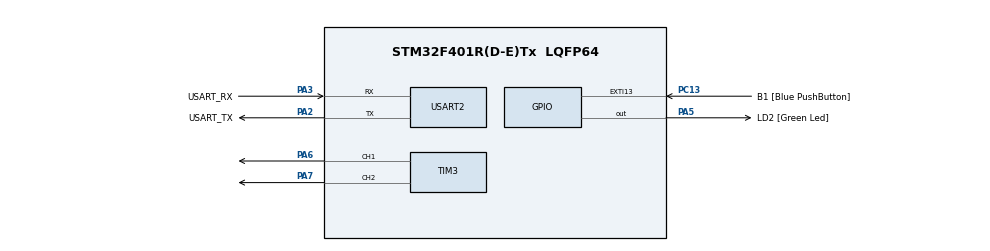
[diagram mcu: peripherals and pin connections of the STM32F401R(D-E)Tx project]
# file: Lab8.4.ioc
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Mcu.Family=STM32F4
Mcu.Name=STM32F401R(D-E)Tx
Mcu.Package=LQFP64
NVIC.PriorityGroup=NVIC_PRIORITYGROUP_4
PA13.GPIO_Label=TMS
PA13.Mode=Trace_Asynchronous_SW
PA13.Signal=SYS_JTMS-SWDIO
PA14.GPIO_Label=TCK
PA14.Mode=Trace_Asynchronous_SW
PA14.Signal=SYS_JTCK-SWCLK
PA2.GPIO_Label=USART_TX
PA2.GPIO_Mode=GPIO_MODE_AF_PP
PA2.GPIO_PuPd=GPIO_NOPULL
PA2.GPIO_Speed=GPIO_SPEED_FREQ_LOW
PA2.Mode=Asynchronous
PA2.Signal=USART2_TX
PA3.GPIO_Label=USART_RX
PA3.GPIO_Mode=GPIO_MODE_AF_PP
PA3.GPIO_PuPd=GPIO_NOPULL
PA3.GPIO_Speed=GPIO_SPEED_FREQ_LOW
PA3.Mode=Asynchronous
PA3.Signal=USART2_RX
PA5.GPIO_Label=LD2 [Green Led]
PA5.GPIO_Mode=GPIO_MODE_OUTPUT_PP
PA5.GPIO_PuPd=GPIO_NOPULL
PA5.GPIO_Speed=GPIO_SPEED_FREQ_LOW
PA5.Signal=GPIO_Output
PA6.Signal=S_TIM3_CH1
PA7.Signal=S_TIM3_CH2
PB3.GPIO_Label=SWO
PB3.Mode=Trace_Asynchronous_SW
PB3.Signal=SYS_JTDO-SWO
PC13-ANTI_TAMP.GPIO_Label=B1 [Blue PushButton]
PC13-ANTI_TAMP.GPIO_ModeDefaultEXTI=GPIO_MODE_IT_FALLING
PC13-ANTI_TAMP.GPIO_PuPd=GPIO_NOPULL
PC13-ANTI_TAMP.Signal=GPXTI13
PC14-OSC32_IN.Mode=LSE-External-Oscillator
PC14-OSC32_IN.Signal=RCC_OSC32_IN
PC15-OSC32_OUT.Mode=LSE-External-Oscillator
PC15-OSC32_OUT.Signal=RCC_OSC32_OUT
PH0\ -\ OSC_IN.Mode=HSE-External-Clock-Source
PH0\ -\ OSC_IN.Signal=RCC_OSC_IN
PH1\ -\ OSC_OUT.Mode=HSE-External-Clock-Source
PH1\ -\ OSC_OUT.Signal=RCC_OSC_OUT
ProjectManager.HeapSize=0x200
ProjectManager.StackSize=0x400
ProjectManager.TargetToolchain=STM32CubeIDE
RCC.48MHZClocksFreq_Value=14285714.285714285
RCC.AHBFreq_Value=50000000
RCC.APB1CLKDivider=RCC_HCLK_DIV2
RCC.APB1Freq_Value=25000000
RCC.APB1TimFreq_Value=50000000
RCC.APB2Freq_Value=50000000
RCC.APB2TimFreq_Value=50000000
RCC.CortexFreq_Value=50000000
RCC.HCLKFreq_Value=50000000
RCC.HSE_VALUE=8000000
RCC.HSI_VALUE=16000000
RCC.PLLM=8
RCC.PLLN=50
RCC.PLLQ=7
RCC.SYSCLKFreq_VALUE=50000000
RCC.SYSCLKSource=RCC_SYSCLKSOURCE_PLLCLK
RCC.VCOOutputFreq_Value=100000000
SH.S_TIM3_CH1.0=TIM3_CH1,Output Compare1 CH1
SH.S_TIM3_CH2.0=TIM3_CH2,Output Compare2 CH2
TIM3.Channel-Output\ Compare1\ CH1=TIM_CHANNEL_1
TIM3.Channel-Output\ Compare2\ CH2=TIM_CHANNEL_2
USART2.VirtualMode=VM_ASYNC
VP_TIM3_VS_ClockSourceINT.Mode=Internal
board=NUCLEO-F401RE

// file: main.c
/* USER CODE BEGIN Header */
/**
 ******************************************************************************
 * @file           : main.c
 * @brief          : Main program body
 ******************************************************************************
 * @attention
 *
 * Copyright (c) 2025 STMicroelectronics.
 * All rights reserved.
 *
 * This software is licensed under terms that can be found in the LICENSE file
 * in the root directory of this software component.
 * If no LICENSE file comes with this software, it is provided AS-IS.
 *
 ******************************************************************************
 */
/* USER CODE END Header */
#include "main.h"

/* USER CODE BEGIN PD */
#define INCREMENT1 1000
#define INCREMENT2 200
/* USER CODE END PD */

void SystemClock_Config(void);
static void MX_GPIO_Init(void);
static void MX_USART2_UART_Init(void);
static void MX_TIM3_Init(void);

int main(void) {

	/* MCU Configuration--------------------------------------------------------*/

	/* Reset of all peripherals, Initializes the Flash interface and the Systick. */
	LL_APB2_GRP1_EnableClock(LL_APB2_GRP1_PERIPH_SYSCFG);
	LL_APB1_GRP1_EnableClock(LL_APB1_GRP1_PERIPH_PWR);

	/* System interrupt init*/
	NVIC_SetPriorityGrouping(NVIC_PRIORITYGROUP_4);

	/* Configure the system clock */
	SystemClock_Config();

	/* Initialize all configured peripherals */
	MX_GPIO_Init();
	MX_USART2_UART_Init();
	MX_TIM3_Init();
	/* USER CODE BEGIN 2 */

	LL_DBGMCU_APB1_GRP1_FreezePeriph(LL_DBGMCU_APB1_GRP1_TIM3_STOP);

	//LL_TIM_WriteReg(TIM3, PSC, 0x2328);			// 9000 in decimal
	LL_TIM_WriteReg(TIM3, PSC, 0x0009);			// 9 in decimal
	LL_TIM_WriteReg(TIM3, ARR, 0xFFFF);			// 999 in decimal
	LL_TIM_WriteReg(TIM3, CCR1, INCREMENT1 -1);			// 999 in decimal
	LL_TIM_WriteReg(TIM3, CCR2, INCREMENT2 -1);			// 249 in decimal
	LL_TIM_WriteReg(TIM3, CCER, LL_TIM_ReadReg(TIM3, CCER) | 0x011);
	LL_TIM_WriteReg(TIM3, CCMR1,
			LL_TIM_ReadReg(TIM3, CCMR1) | 0b0011000000110000);
	LL_TIM_WriteReg(TIM3, CR1, LL_TIM_ReadReg(TIM3,CR1) | 0x01);// Enable timer
	/* USER CODE END 2 */

	/* Infinite loop */
	/* USER CODE BEGIN WHILE */
	SysTick_Config(SystemCoreClock / 1000);

	while (1) {

		// Test for CC1IF
		if (LL_TIM_ReadReg(TIM3, SR) & 0x02) {
			LL_TIM_WriteReg(TIM3, CCR1, LL_TIM_ReadReg(TIM3, CCR1) + INCREMENT1);	// Increment CCR1
			LL_TIM_WriteReg(TIM3, SR, LL_TIM_ReadReg(TIM3,SR) & (~0x02));// Clear CC1IF
		}

		// Test for CC2IF
		if (LL_TIM_ReadReg(TIM3, SR) & 0x04) {
			LL_TIM_WriteReg(TIM3, CCR2, LL_TIM_ReadReg(TIM3, CCR2) + INCREMENT2);// Increment CCR2
			LL_TIM_WriteReg(TIM3, SR, LL_TIM_ReadReg(TIM3,SR) & (~0x04));// Clear CC2IF
		}
		/* USER CODE END WHILE */

	}
}

void SystemClock_Config(void) {
	LL_FLASH_SetLatency(LL_FLASH_LATENCY_1);
	while (LL_FLASH_GetLatency() != LL_FLASH_LATENCY_1) {
	}
	LL_PWR_SetRegulVoltageScaling(LL_PWR_REGU_VOLTAGE_SCALE2);
	LL_RCC_HSI_SetCalibTrimming(16);
	LL_RCC_HSI_Enable();

	/* Wait till HSI is ready */
	while (LL_RCC_HSI_IsReady() != 1) {

	}
	LL_RCC_PLL_ConfigDomain_SYS(LL_RCC_PLLSOURCE_HSI, LL_RCC_PLLM_DIV_8, 50,
	LL_RCC_PLLP_DIV_2);
	LL_RCC_PLL_Enable();

	/* Wait till PLL is ready */
	while (LL_RCC_PLL_IsReady() != 1) {

	}
	while (LL_PWR_IsActiveFlag_VOS() == 0) {
	}
	LL_RCC_SetAHBPrescaler(LL_RCC_SYSCLK_DIV_1);
	LL_RCC_SetAPB1Prescaler(LL_RCC_APB1_DIV_2);
	LL_RCC_SetAPB2Prescaler(LL_RCC_APB2_DIV_1);
	LL_RCC_SetSysClkSource(LL_RCC_SYS_CLKSOURCE_PLL);

	/* Wait till System clock is ready */
	while (LL_RCC_GetSysClkSource() != LL_RCC_SYS_CLKSOURCE_STATUS_PLL) {

	}
	LL_Init1msTick(50000000);
	LL_SetSystemCoreClock(50000000);
	LL_RCC_SetTIMPrescaler(LL_RCC_TIM_PRESCALER_TWICE);
}

static void MX_TIM3_Init(void) {

	LL_TIM_InitTypeDef TIM_InitStruct = { 0 };
	LL_TIM_OC_InitTypeDef TIM_OC_InitStruct = { 0 };

	LL_GPIO_InitTypeDef GPIO_InitStruct = { 0 };

	/* Peripheral clock enable */
	LL_APB1_GRP1_EnableClock(LL_APB1_GRP1_PERIPH_TIM3);

	TIM_InitStruct.Prescaler = 0;
	TIM_InitStruct.CounterMode = LL_TIM_COUNTERMODE_UP;
	TIM_InitStruct.Autoreload = 65535;
	TIM_InitStruct.ClockDivision = LL_TIM_CLOCKDIVISION_DIV1;
	LL_TIM_Init(TIM3, &TIM_InitStruct);
	LL_TIM_DisableARRPreload(TIM3);
	LL_TIM_SetClockSource(TIM3, LL_TIM_CLOCKSOURCE_INTERNAL);
	TIM_OC_InitStruct.OCMode = LL_TIM_OCMODE_FROZEN;
	TIM_OC_InitStruct.OCState = LL_TIM_OCSTATE_DISABLE;
	TIM_OC_InitStruct.OCNState = LL_TIM_OCSTATE_DISABLE;
	TIM_OC_InitStruct.CompareValue = 0;
	TIM_OC_InitStruct.OCPolarity = LL_TIM_OCPOLARITY_HIGH;
	LL_TIM_OC_Init(TIM3, LL_TIM_CHANNEL_CH1, &TIM_OC_InitStruct);
	LL_TIM_OC_DisableFast(TIM3, LL_TIM_CHANNEL_CH1);
	LL_TIM_OC_Init(TIM3, LL_TIM_CHANNEL_CH2, &TIM_OC_InitStruct);
	LL_TIM_OC_DisableFast(TIM3, LL_TIM_CHANNEL_CH2);
	LL_TIM_SetTriggerOutput(TIM3, LL_TIM_TRGO_RESET);
	LL_TIM_DisableMasterSlaveMode(TIM3);
	LL_AHB1_GRP1_EnableClock(LL_AHB1_GRP1_PERIPH_GPIOA);
	/**TIM3 GPIO Configuration
	 PA6   ------> TIM3_CH1
	 PA7   ------> TIM3_CH2
	 */
	GPIO_InitStruct.Pin = LL_GPIO_PIN_6 | LL_GPIO_PIN_7;
	GPIO_InitStruct.Mode = LL_GPIO_MODE_ALTERNATE;
	GPIO_InitStruct.Speed = LL_GPIO_SPEED_FREQ_LOW;
	GPIO_InitStruct.OutputType = LL_GPIO_OUTPUT_PUSHPULL;
	GPIO_InitStruct.Pull = LL_GPIO_PULL_NO;
	GPIO_InitStruct.Alternate = LL_GPIO_AF_2;
	LL_GPIO_Init(GPIOA, &GPIO_InitStruct);

}

static void MX_USART2_UART_Init(void) {

	LL_USART_InitTypeDef USART_InitStruct = { 0 };

	LL_GPIO_InitTypeDef GPIO_InitStruct = { 0 };

	/* Peripheral clock enable */
	LL_APB1_GRP1_EnableClock(LL_APB1_GRP1_PERIPH_USART2);

	LL_AHB1_GRP1_EnableClock(LL_AHB1_GRP1_PERIPH_GPIOA);
	/**USART2 GPIO Configuration
	 PA2   ------> USART2_TX
	 PA3   ------> USART2_RX
	 */
	GPIO_InitStruct.Pin = USART_TX_Pin | USART_RX_Pin;
	GPIO_InitStruct.Mode = LL_GPIO_MODE_ALTERNATE;
	GPIO_InitStruct.Speed = LL_GPIO_SPEED_FREQ_LOW;
	GPIO_InitStruct.OutputType = LL_GPIO_OUTPUT_PUSHPULL;
	GPIO_InitStruct.Pull = LL_GPIO_PULL_NO;
	GPIO_InitStruct.Alternate = LL_GPIO_AF_7;
	LL_GPIO_Init(GPIOA, &GPIO_InitStruct);

	USART_InitStruct.BaudRate = 115200;
	USART_InitStruct.DataWidth = LL_USART_DATAWIDTH_8B;
	USART_InitStruct.StopBits = LL_USART_STOPBITS_1;
	USART_InitStruct.Parity = LL_USART_PARITY_NONE;
	USART_InitStruct.TransferDirection = LL_USART_DIRECTION_TX_RX;
	USART_InitStruct.HardwareFlowControl = LL_USART_HWCONTROL_NONE;
	USART_InitStruct.OverSampling = LL_USART_OVERSAMPLING_16;
	LL_USART_Init(USART2, &USART_InitStruct);
	LL_USART_ConfigAsyncMode(USART2);
	LL_USART_Enable(USART2);

}

static void MX_GPIO_Init(void) {
	LL_EXTI_InitTypeDef EXTI_InitStruct = { 0 };
	LL_GPIO_InitTypeDef GPIO_InitStruct = { 0 };

	/* GPIO Ports Clock Enable */
	LL_AHB1_GRP1_EnableClock(LL_AHB1_GRP1_PERIPH_GPIOC);
	LL_AHB1_GRP1_EnableClock(LL_AHB1_GRP1_PERIPH_GPIOH);
	LL_AHB1_GRP1_EnableClock(LL_AHB1_GRP1_PERIPH_GPIOA);
	LL_AHB1_GRP1_EnableClock(LL_AHB1_GRP1_PERIPH_GPIOB);

	/**/
	LL_GPIO_ResetOutputPin(LD2_GPIO_Port, LD2_Pin);

	/**/
	LL_SYSCFG_SetEXTISource(LL_SYSCFG_EXTI_PORTC, LL_SYSCFG_EXTI_LINE13);

	/**/
	EXTI_InitStruct.Line_0_31 = LL_EXTI_LINE_13;
	EXTI_InitStruct.LineCommand = ENABLE;
	EXTI_InitStruct.Mode = LL_EXTI_MODE_IT;
	EXTI_InitStruct.Trigger = LL_EXTI_TRIGGER_FALLING;
	LL_EXTI_Init(&EXTI_InitStruct);

	/**/
	LL_GPIO_SetPinPull(B1_GPIO_Port, B1_Pin, LL_GPIO_PULL_NO);

	/**/
	LL_GPIO_SetPinMode(B1_GPIO_Port, B1_Pin, LL_GPIO_MODE_INPUT);

	/**/
	GPIO_InitStruct.Pin = LD2_Pin;
	GPIO_InitStruct.Mode = LL_GPIO_MODE_OUTPUT;
	GPIO_InitStruct.Speed = LL_GPIO_SPEED_FREQ_LOW;
	GPIO_InitStruct.OutputType = LL_GPIO_OUTPUT_PUSHPULL;
	GPIO_InitStruct.Pull = LL_GPIO_PULL_NO;
	LL_GPIO_Init(LD2_GPIO_Port, &GPIO_InitStruct);

}

void Error_Handler(void) {
	__disable_irq();
	while (1) {
	}
}
